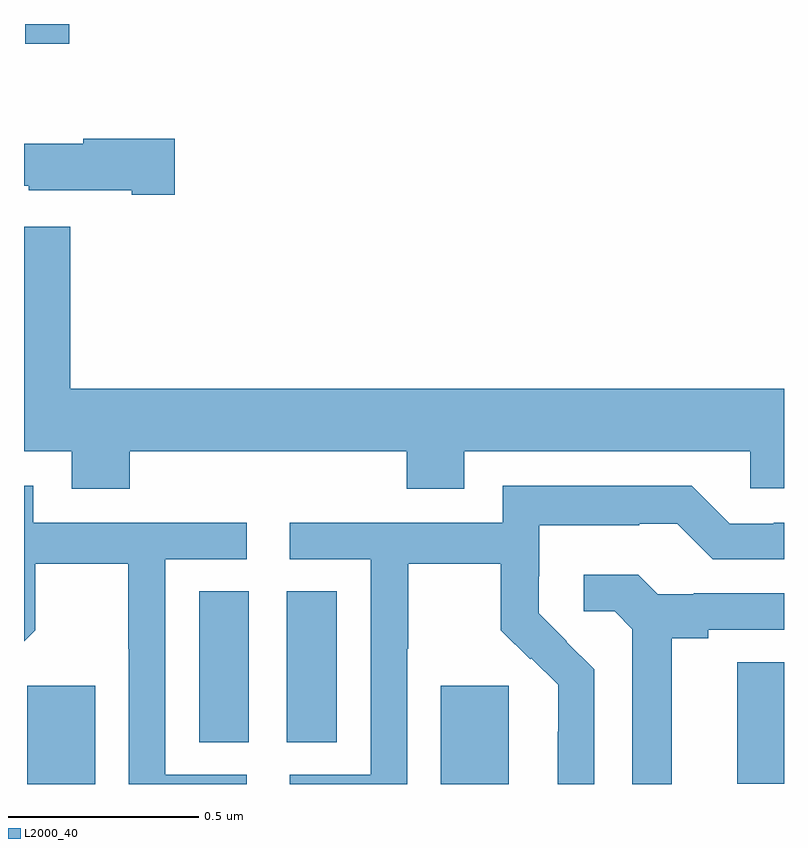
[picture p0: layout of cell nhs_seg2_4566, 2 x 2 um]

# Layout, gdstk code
import gdstk
lib = gdstk.Library(unit=1e-6, precision=1e-09)
def R(c, l, rs):  # rectangles x0, y0, x1, y1
    for r in rs: c.add(gdstk.rectangle(r[:2], r[2:], *l))
def P(c, l, *ps):  # polygons
    for p in ps: c.add(gdstk.Polygon(p, *l))
L2000_40 = (2000, 40)

nhs_seg2_4566 = lib.new_cell('nhs_seg2_4566')
R(nhs_seg2_4566, L2000_40, [(168.008,606.8,168.187,607.059), (169.097,606.8,169.276,607.059), (169.877,606.801,170,607.121), (168.461,606.91,168.592,607.307), (168.692,606.91,168.823,607.307), (168.003,608.748,168.119,608.8)])
P(nhs_seg2_4566, L2000_40, [(168.397,608.498),(168.156,608.498),(168.156,608.485),(168,608.485),(168,608.375),(168.012,608.375),(168.012,608.363),(168.284,608.363),(168.284,608.351),(168.397,608.351)],
  [(168.278,607.676),(169.007,607.676),(169.007,607.577),(169.159,607.577),(169.159,607.676),(169.911,607.676),(169.911,607.578),(170,607.578),(170,607.84),(168.122,607.84),(168.122,608.266),(168,608.266),(168,607.676),(168.125,607.676),(168.125,607.577),(168.278,607.577)],
  [(169.008,607.156),(169.011,607.156),(169.011,607.38),(169.255,607.38),(169.255,607.205),(169.332,607.128),(169.335,607.131),(169.406,607.061),(169.406,606.938),(169.404,606.938),(169.404,606.8),(169.5,606.8),(169.5,607.102),(169.427,607.175),(169.428,607.176),(169.354,607.25),(169.354,607.347),(169.356,607.347),(169.356,607.481),(169.619,607.481),(169.619,607.485),(169.719,607.485),(169.812,607.392),(170,607.392),(170,607.488),(169.973,607.488),(169.973,607.485),(169.857,607.485),(169.757,607.585),(169.26,607.585),(169.26,607.488),(168.699,607.488),(168.699,607.392),(168.912,607.392),(168.912,606.825),(168.699,606.825),(168.699,606.8),(169.008,606.8)],
  [(168.586,606.825),(168.372,606.825),(168.372,607.392),(168.586,607.392),(168.586,607.488),(168.024,607.488),(168.024,607.585),(168,607.585),(168,607.176),(168.029,607.205),(168.029,607.38),(168.274,607.38),(168.274,607.156),(168.276,607.156),(168.276,606.8),(168.586,606.8)],
  [(169.705,607.184),(169.801,607.184),(169.801,607.206),(170,607.206),(170,607.302),(169.762,607.302),(169.762,607.299),(169.668,607.299),(169.616,607.351),(169.473,607.351),(169.473,607.254),(169.554,607.254),(169.601,607.207),(169.601,606.8),(169.705,606.8)])

lib.write_gds('nhs_seg2_4566.gds')
